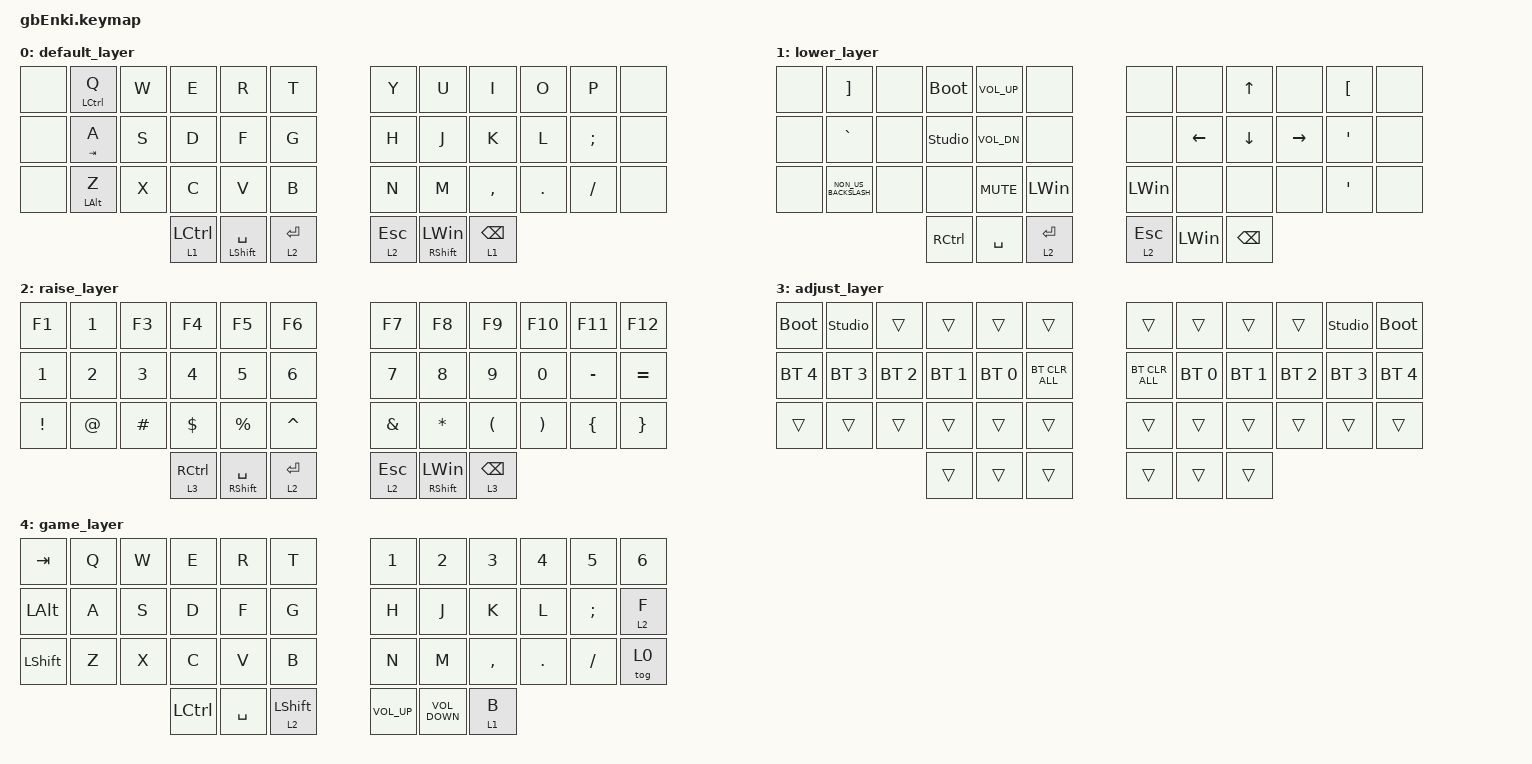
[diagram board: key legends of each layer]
/*
 * Copyright (c) 2020 The ZMK Contributors
 *
 * SPDX-License-Identifier: MIT
 */

#include <behaviors.dtsi>
#include <dt-bindings/zmk/bt.h>
#include <dt-bindings/zmk/keys.h>

#define DEF 0
#define LWR 1
#define RSE 2
#define ADJ 3

&lt { quick_tap_ms = <220>; };

&mt { quick_tap_ms = <220>; };

&tog { toggle-mode = "flip"; };

/ {
    macros {
        numdot: numdot {
            label = "ZM_numdot";
            compatible = "zmk,behavior-macro";
            #binding-cells = <0>;
            wait-ms = <40>;
            tap-ms = <40>;
            bindings =
                <&macro_press>,
                <&kp LALT>,
                <&macro_tap>,
                <&kp KP_N4 &kp KP_N6>,
                <&macro_release>,
                <&kp LALT>;
        };

        grtsgn: grtsgn {
            label = "ZM_grtsgn";
            compatible = "zmk,behavior-macro";
            #binding-cells = <0>;
            wait-ms = <40>;
            tap-ms = <40>;
            bindings =
                <&macro_press>,
                <&kp LALT>,
                <&macro_tap>,
                <&kp KP_N6 &kp KP_N2>,
                <&macro_release>,
                <&kp LALT>;
        };
    };
};

/ {
    combos {
        compatible = "zmk,combos";

        win {
            bindings = <&kp LEFT_WIN>;
            key-positions = <36 37>;
        };

        eskape {
            bindings = <&kp ESCAPE>;
            key-positions = <1 2>;
        };

        languge {
            bindings = <&kp LS(LEFT_ALT)>;
            key-positions = <25 26 27>;
        };

        del {
            bindings = <&kp DEL>;
            key-positions = <10 9>;
        };

        game_layer {
            bindings = <&tog 4>;
            key-positions = <0 12>;
        };

        skren {
            bindings = <&kp LS(LG(S))>;
            key-positions = <37 38>;
        };

        nim {
            bindings = <&kp NUMBER_1>;
            key-positions = <13 14>;
        };

        kopy {
            bindings = <&kp LC(C)>;
            key-positions = <13 14>;
        };

        past2 {
            bindings = <&kp LC(V)>;
            key-positions = <15 16>;
        };
    };

    keymap {
        compatible = "zmk,keymap";

        default_layer {
            bindings = <
&none  &mt LCTRL Q     &kp W  &kp E        &kp R            &kp T        &kp Y      &kp U                     &kp I            &kp O    &kp P     &none
&none  &mt TAB A       &kp S  &kp D        &kp F            &kp G        &kp H      &kp J                     &kp K            &kp L    &kp SEMI  &none
&none  &mt LEFT_ALT Z  &kp X  &kp C        &kp V            &kp B        &kp N      &kp M                     &kp COMMA        &kp DOT  &kp FSLH  &none
                              &lt 1 LCTRL  &mt LSHFT SPACE  &lt 2 RET    &lt 2 ESC  &mt RIGHT_SHIFT LEFT_WIN  &lt 1 BACKSPACE
            >;
        };

        lower_layer {
            bindings = <
&none  &kp RIGHT_BRACKET     &none  &bootloader     &kp C_VOLUME_UP  &none           &none         &none         &kp UP         &none      &kp LEFT_BRACKET  &none
&none  &kp GRAVE             &none  &studio_unlock  &kp C_VOL_DN     &none           &none         &kp LEFT      &kp DOWN       &kp RIGHT  &kp SQT           &none
&none  &kp NON_US_BACKSLASH  &none  &none           &kp K_MUTE       &kp LEFT_WIN    &kp LEFT_WIN  &none         &none          &none      &kp SQT           &none
                                    &kp RCTRL       &kp SPACE        &lt 2 ENTER     &lt 2 ESCAPE  &kp LEFT_WIN  &kp BACKSPACE
            >;
        };

        raise_layer {
            bindings = <
&kp F1           &kp NUMBER_1  &kp F3        &kp F4        &kp F5                 &kp F6          &kp F7         &kp F8                    &kp F9                &kp F10                &kp F11         &kp F12
&kp NUMBER_1     &kp NUMBER_2  &kp NUMBER_3  &kp NUMBER_4  &kp N5                 &kp NUMBER_6    &kp N7         &kp N8                    &kp N9                &kp N0                 &kp MINUS       &kp EQUAL
&kp EXCLAMATION  &kp AT_SIGN   &kp HASH      &kp DOLLAR    &kp PERCENT            &kp CARET       &kp AMPERSAND  &kp ASTERISK              &kp LEFT_PARENTHESIS  &kp RIGHT_PARENTHESIS  &kp LEFT_BRACE  &kp RIGHT_BRACE
                                             &lt 3 RCTRL   &mt RIGHT_SHIFT SPACE  &lt 2 RET       &lt 2 ESC      &mt RIGHT_SHIFT LEFT_WIN  &lt 3 BACKSPACE
            >;
        };

        adjust_layer {
            bindings = <
&bootloader   &studio_unlock  &trans        &trans        &trans        &trans            &trans          &trans        &trans        &trans        &studio_unlock  &bootloader
&bt BT_SEL 4  &bt BT_SEL 3    &bt BT_SEL 2  &bt BT_SEL 1  &bt BT_SEL 0  &bt BT_CLR_ALL    &bt BT_CLR_ALL  &bt BT_SEL 0  &bt BT_SEL 1  &bt BT_SEL 2  &bt BT_SEL 3    &bt BT_SEL 4
&trans        &trans          &trans        &trans        &trans        &trans            &trans          &trans        &trans        &trans        &trans          &trans
                                            &trans        &trans        &trans            &trans          &trans        &trans
            >;
        };

        game_layer {
            bindings = <
&kp TAB         &kp Q  &kp W  &kp E      &kp R      &kp T               &kp NUMBER_1     &kp NUMBER_2       &kp NUMBER_3  &kp NUMBER_4  &kp N5         &kp NUMBER_6
&kp LEFT_ALT    &kp A  &kp S  &kp D      &kp F      &kp G               &kp H            &kp J              &kp K         &kp L         &kp SEMICOLON  &lt 2 F
&kp LEFT_SHIFT  &kp Z  &kp X  &kp C      &kp V      &kp B               &kp N            &kp M              &kp COMMA     &kp PERIOD    &kp SLASH      &tog 0
                              &kp LCTRL  &kp SPACE  &lt 2 LEFT_SHIFT    &kp C_VOLUME_UP  &kp C_VOLUME_DOWN  &lt 1 B
            >;
        };
    };

    conditional_layers { compatible = "zmk,conditional-layers"; };
};
